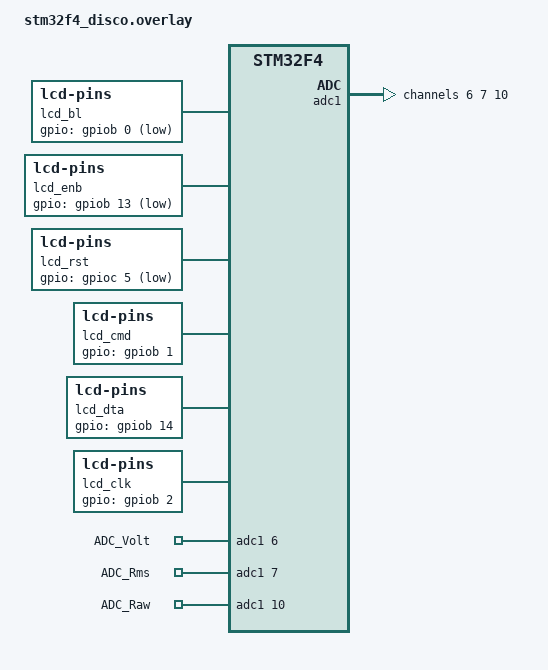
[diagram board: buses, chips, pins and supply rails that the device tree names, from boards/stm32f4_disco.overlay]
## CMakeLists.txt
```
# SPDX-License-Identifier: Apache-2.0

cmake_minimum_required(VERSION 3.20.0)

set(ZEPHYR_EXTRA_MODULES $ENV{ZEPHYR_BASE}../../modules/zpp)
find_package(Zephyr REQUIRED HINTS $ENV{ZEPHYR_BASE})
project(Project)

FILE(GLOB app_sources src/main.cpp)
target_sources(app PRIVATE ${app_sources})

include_directories(inc)
```

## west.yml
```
# Copyright (c) 2021 Nordic Semiconductor ASA
# SPDX-License-Identifier: Apache-2.0

manifest:
  remotes:
    - name: zephyrproject-rtos
      url-base: https://github.com/zephyrproject-rtos
    - name: zpp_remote
      url-base: https://github.com/lowlander  
      
  projects:
    - name: zephyr
      remote: zephyrproject-rtos
      clone-depth: 1
      revision: main
      import:
        name-allowlist:
          - cmsis
          - hal_stm32
    - name: zpp
      remote: zpp_remote
      revision: master
      path: modules/zpp   
```

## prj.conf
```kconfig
CONFIG_ADC=y
CONFIG_ADC_ASYNC=y
CONFIG_GPIO=y
CONFIG_TEST=y
CONFIG_CPLUSPLUS=y
CONFIG_STD_CPP20=y
CONFIG_NEWLIB_LIBC=y
CONFIG_NEWLIB_LIBC_NANO=y
CONFIG_SPEED_OPTIMIZATIONS=y
CONFIG_NEWLIB_LIBC_FLOAT_PRINTF=y
CONFIG_CBPRINTF_FP_SUPPORT=y
CONFIG_LIB_CPLUSPLUS=y
CONFIG_HEAP_MEM_POOL_SIZE=1024
CONFIG_DEBUG_OPTIMIZATIONS=y
CONFIG_DMA=y
#CONFIG_COMPILER_OPT="-Wall -Wextra -Werror -Wno-error=empty-body -Wno-error=unused-parameter -Wno-error=type-limits -Wno-error=missing-field-initializers -Wno-error=sign-compare -Wno-error=ignored-qualifiers -Wno-error=old-style-declaration -Wno-error=cast-function-type"
```

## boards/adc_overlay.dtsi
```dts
&adc1 {
	pinctrl-0 = <&adc_in10_pc0 &adc_in6_pa6 &adc_in7_pa7>;
	pinctrl-names = "default";
	status = "okay";
};
```

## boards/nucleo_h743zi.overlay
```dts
#include "stm32h7_overlay.dtsi"
	
 / {	
	lcd_bl: lcd_bl {			
		compatible = "lcd-pins";
		gpios = <&gpiob 0 GPIO_ACTIVE_LOW>;	
	};
	lcd_enb: lcd_enb {			
		compatible = "lcd-pins";
		gpios = <&gpiob 13 GPIO_ACTIVE_LOW>;
	};
	lcd_rst: lcd_rst {			
		compatible = "lcd-pins";
		gpios = <&gpioc 5 GPIO_ACTIVE_LOW>;
	};		
	lcd_cmd: lcd_cmd {			
		compatible = "lcd-pins";
		gpios = <&gpiob 1 GPIO_ACTIVE_HIGH>;
	};		
	lcd_dta: lcd_dta {			
		compatible = "lcd-pins";
		gpios = <&gpiob 14 GPIO_ACTIVE_HIGH>;
	};		
	lcd_clk: lcd_clk {			
		compatible = "lcd-pins";
		gpios = <&gpiob 2 GPIO_ACTIVE_HIGH>;
	};			
	zephyr,user {
		/* adjust channel number according to pinmux in board.dts */
		io-channels = <&adc1 3>, <&adc1 15>;
		io-channel-names = "ADC_VR", "ADC_VS";
	};		
};

&adc1 {
	dmas = < &dmamux1 0 9 (STM32_DMA_PERIPH_TO_MEMORY |
		STM32_DMA_MEM_INC |  STM32_DMA_MEM_16BITS | STM32_DMA_PERIPH_16BITS) >;
	dma-names = "dmamux";

	#address-cells = <1>;
	#size-cells = <0>;

	channel@3 {
		reg = <3>;
		zephyr,gain = "ADC_GAIN_1";
		zephyr,reference = "ADC_REF_INTERNAL";
		zephyr,acquisition-time = <ADC_ACQ_TIME_DEFAULT>;
		zephyr,resolution = <12>;
	};
	channel@15 {
		reg = <15>;
		zephyr,gain = "ADC_GAIN_1";
		zephyr,reference = "ADC_REF_INTERNAL";
		zephyr,acquisition-time = <ADC_ACQ_TIME_DEFAULT>;
		zephyr,resolution = <12>;
	};
};

/* ADC driver expects a buffer in a non-cachable memory region */
&sram4 {
	zephyr,memory-region-mpu = "RAM_NOCACHE";
};

&dma1 {
	status = "okay";
};

test_dma: &dmamux1 {
	status = "okay";
};
```

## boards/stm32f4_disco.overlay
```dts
#include "stm32f4_overlay.dtsi"

/ {			
	lcd_bl: lcd_bl {			
		compatible = "lcd-pins";
		gpios = <&gpiob 0 GPIO_ACTIVE_LOW>;	
	};
	lcd_enb: lcd_enb {			
		compatible = "lcd-pins";
		gpios = <&gpiob 13 GPIO_ACTIVE_LOW>;
	};
	lcd_rst: lcd_rst {			
		compatible = "lcd-pins";
		gpios = <&gpioc 5 GPIO_ACTIVE_LOW>;
	};		
	lcd_cmd: lcd_cmd {			
		compatible = "lcd-pins";
		gpios = <&gpiob 1 GPIO_ACTIVE_HIGH>;
	};		
	lcd_dta: lcd_dta {			
		compatible = "lcd-pins";
		gpios = <&gpiob 14 GPIO_ACTIVE_HIGH>;
	};		
	lcd_clk: lcd_clk {			
		compatible = "lcd-pins";
		gpios = <&gpiob 2 GPIO_ACTIVE_HIGH>;
	};			
	zephyr,user {
		/* adjust channel number according to pinmux in board.dts */
		io-channels = <&adc1 6>, <&adc1 7>, <&adc1 10>;
		io-channel-names = "ADC_Volt", "ADC_Rms", "ADC_Raw";
	};		
};

&adc1 {
	#address-cells = <1>;
	#size-cells = <0>;

	channel@6 {
		reg = <6>;
		zephyr,gain = "ADC_GAIN_1";
		zephyr,reference = "ADC_REF_INTERNAL";
		zephyr,acquisition-time = <ADC_ACQ_TIME_DEFAULT>;
		zephyr,resolution = <12>;
	};
	channel@7 {
		reg = <7>;
		zephyr,gain = "ADC_GAIN_1";
		zephyr,reference = "ADC_REF_INTERNAL";
		zephyr,acquisition-time = <ADC_ACQ_TIME_DEFAULT>;
		zephyr,resolution = <12>;
	};
	channel@10 {
		reg = <10>;
		zephyr,gain = "ADC_GAIN_1";
		zephyr,reference = "ADC_REF_INTERNAL";
		zephyr,acquisition-time = <ADC_ACQ_TIME_DEFAULT>;
		zephyr,resolution = <12>;
	};	
};

&dma1 {
	status = "okay";
};
```

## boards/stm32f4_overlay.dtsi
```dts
&adc1 {
	pinctrl-0 = <&adc1_in6_pa6 &adc1_in7_pa7 &adc1_in10_pc0>;
	pinctrl-names = "default";
	st,adc-prescaler = <2>;
	status = "okay";
};
```

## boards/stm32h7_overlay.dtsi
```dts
&adc1 {
	pinctrl-0 = <&adc1_inp3_pa6 &adc1_inp15_pa3>;
	pinctrl-names = "default";
	st,adc-prescaler = <2>;
	status = "okay";
};
```

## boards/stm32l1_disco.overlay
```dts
#include "adc_overlay.dtsi"

/ {	
	lcd_bl: lcd_bl {			
		compatible = "lcd-pins";
		gpios = <&gpiob 0 GPIO_ACTIVE_LOW>;	
	};
	lcd_enb: lcd_enb {			
		compatible = "lcd-pins";
		gpios = <&gpiob 13 GPIO_ACTIVE_LOW>;
	};
	lcd_rst: lcd_rst {			
		compatible = "lcd-pins";
		gpios = <&gpioc 5 GPIO_ACTIVE_LOW>;
	};		
	lcd_cmd: lcd_cmd {			
		compatible = "lcd-pins";
		gpios = <&gpiob 1 GPIO_ACTIVE_HIGH>;
	};		
	lcd_dta: lcd_dta {			
		compatible = "lcd-pins";
		gpios = <&gpiob 14 GPIO_ACTIVE_HIGH>;
	};		
	lcd_clk: lcd_clk {			
		compatible = "lcd-pins";
		gpios = <&gpiob 2 GPIO_ACTIVE_HIGH>;
	};			
	zephyr,user {
		/* adjust channel number according to pinmux in board.dts */
		io-channels = <&adc1 10>, <&adc1 6>, <&adc1 7>;
		io-channel-names = "ADC_VR", "ADC_VS", "ADC_VT";
	};		
};

&adc1 {
	#address-cells = <1>;
	#size-cells = <0>;
 
	channel@10 {
		reg = <10>;
		zephyr,gain = "ADC_GAIN_1";
		zephyr,reference = "ADC_REF_INTERNAL";
		zephyr,acquisition-time = <ADC_ACQ_TIME_DEFAULT>;
		zephyr,resolution = <12>;
	};
	channel@6 {
		reg = <6>;
		zephyr,gain = "ADC_GAIN_1";
		zephyr,reference = "ADC_REF_INTERNAL";
		zephyr,acquisition-time = <ADC_ACQ_TIME_DEFAULT>;
		zephyr,resolution = <12>;
	};
	channel@7 {
		reg = <7>;
		zephyr,gain = "ADC_GAIN_1";
		zephyr,reference = "ADC_REF_INTERNAL";
		zephyr,acquisition-time = <ADC_ACQ_TIME_DEFAULT>;
		zephyr,resolution = <12>;
	};
};
```

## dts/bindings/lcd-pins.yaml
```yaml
description: GPIO pin to switch a lcd-pins

compatible: "lcd-pins"

properties:
  gpios:
    type: phandle-array
    required: true
    description: |
      The GPIO connected to the LCD pins
```

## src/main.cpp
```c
/*
    Main.cpp

    Created on: Sep 9, 2023

    Author: Coskun ERGAN
*/

#include <zephyr/devicetree.h>
#include <zephyr/kernel.h>
#include <zephyr/drivers/sensor.h>
#include <zephyr/device.h>

#include <zpp.hpp>
#include <chrono>
#include "printf_io.h"
#include "adc_io.h"

#define STACK_SIZE (1024 + CONFIG_TEST_EXTRA_STACK_SIZE)

using namespace zpp;
using namespace std::chrono;
using namespace device_printf;
using namespace device_adc;

typedef enum
{
    adc_volt = 0,
    adc_rms,
    adc_raw,
} adc_t;

ADC adc;

uint32_t val_rms;
uint32_t rms_sum;
#define RMS_SAMPLE_NUM 256

int main(void)
{
    printf_io.turn_off_bl_enable();

    printf("\rRestart..");

    adc.readAsync(100us, [&](size_t idx, int16_t val)
    {
        switch((adc_t)idx)
        {
            case adc_volt:
                break;
            case adc_rms:
                rms_sum -= rms_sum / RMS_SAMPLE_NUM;
                rms_sum += val * val;                
                break;
            case adc_raw:
                break;
            default:
                break;
        }        
    });

    for(;;)
    {        
        this_thread::sleep_for(500ms);        
        printf("\rVolt = %"PRId32"   \n", adc.get_voltage(adc_volt));
        val_rms = (val_rms == 0) ? 1 : val_rms;
        val_rms = (val_rms + ((rms_sum / RMS_SAMPLE_NUM) / val_rms)) / 2;
        printf("Rms = %"PRId32"   \n",  val_rms);
        printf("Raw = %"PRId32"   \n", adc.get_value(adc_raw));
    }

    return 0;
}
```

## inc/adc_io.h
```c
/*
    ADC Lib

    Created on: Sep 9, 2023

    Author: Coskun ERGAN
*/
#pragma once
#include <stdio.h>
#include <zephyr/drivers/adc.h>
#include <zephyr/devicetree.h>
#include <zephyr/drivers/gpio.h>
#include <zephyr/kernel.h>
#include <cassert>
#include <zephyr/irq.h>
#include <functional>

#include <zpp.hpp>
#include <chrono>
#include <zpp/fmt.hpp>

namespace device_adc
{
    using namespace zpp;
    using namespace std::chrono;
#if defined(ADC)
#undef ADC
#endif

#if !DT_NODE_EXISTS(DT_PATH(zephyr_user)) || \
	!DT_NODE_HAS_PROP(DT_PATH(zephyr_user), io_channels)
#error "No suitable devicetree overlay specified"
#endif

#define DT_SPEC_AND_COMMA(node_id, prop, idx) \
 	ADC_DT_SPEC_GET_BY_IDX(node_id, idx),

    static const struct adc_dt_spec adc_channels[] =
    {
        DT_FOREACH_PROP_ELEM(DT_PATH(zephyr_user), io_channels, DT_SPEC_AND_COMMA)
    };
    class ADC
    {
    private:
        struct adc_sequence_options options;
        struct adc_sequence sequence;
        const size_t channel_count = ARRAY_SIZE(adc_channels);
        size_t channel_index;
        struct IsrContext
        {
            struct k_work work;
            int16_t buffer;
            int16_t sample[ARRAY_SIZE(adc_channels)];
            std::function<void(size_t, int16_t)> done_cb;
            std::function<void(size_t, int16_t)> done_cb_isr;
            enum adc_action state;
            ADC *self;
        } isrContext;

    public:
        ADC()
        {
            int err;
            for(size_t i = 0U; i < channel_count; i++)
            {
                err = adc_channel_setup_dt(&adc_channels[i]);
                if(err < 0)
                {
                    printk("Could not setup channel #%d (%d)\n", i, err);
                    return;
                }
            }
            k_work_init(&isrContext.work, _soft_isr);
        }

        virtual void readAsync(microseconds us, std::function<void(size_t, int16_t)> &&handler = nullptr)
        {
            options =
            {
                .interval_us = (uint32_t)us.count(),
                .callback = _hard_isr,
                .user_data = &isrContext,
            };
            sequence =
            {
                .options = &options,
                .channels = BIT(adc_channels[0].channel_cfg.channel_id),
                .buffer = &isrContext.buffer,
                .buffer_size = sizeof(isrContext.buffer),
                .resolution = adc_channels[0].resolution,
            };
            isrContext.self = this;
            channel_index = 0;
            isrContext.done_cb = std::move(handler);
            isrContext.state = ADC_ACTION_CONTINUE;
            int res = adc_read_async(adc_channels[0].dev, &sequence, nullptr);
            assert(res == 0);
        }

        virtual void readAsyncISR(microseconds us, std::function<void(size_t, int16_t)> &&handler = nullptr)
        {
            options =
            {
                .interval_us = (uint32_t)us.count(),
                .callback = _hard_isr,
                .user_data = &isrContext,
            };
            sequence =
            {
                .options = &options,
                .channels = BIT(adc_channels[0].channel_cfg.channel_id),
                .buffer = &isrContext.buffer,
                .buffer_size = sizeof(isrContext.buffer),
                .resolution = adc_channels[0].resolution,
            };
            isrContext.self = this;
            channel_index = 0;
            isrContext.done_cb = nullptr;
            isrContext.done_cb_isr = std::move(handler);
            isrContext.state = ADC_ACTION_CONTINUE;
            int res = adc_read_async(adc_channels[0].dev, &sequence, nullptr);
            assert(res == 0);
        }

        virtual void cancelRead()
        {
            isrContext.state = ADC_ACTION_FINISH;
        }

        virtual int32_t get_voltage(size_t idx)
        {
            int32_t val_mv;
            if(adc_channels[idx].channel_cfg.differential)
            {
                val_mv = (int32_t)((int16_t)isrContext.sample[idx]);
            }
            else
            {
                val_mv = (int32_t)isrContext.sample[idx];
            }
            adc_raw_to_millivolts_dt(&adc_channels[idx], &val_mv);
            return val_mv;
        }

        virtual int32_t get_value(size_t idx)
        {
            int32_t val;
            if(adc_channels[idx].channel_cfg.differential)
            {
                val = (int32_t)((int16_t)isrContext.sample[idx]);
            }
            else
            {
                val = (int32_t)isrContext.sample[idx];
            }
            return val;
        }

    private:
        static void _soft_isr(struct k_work *work)
        {
            IsrContext *context = CONTAINER_OF(work, IsrContext, work);
            if(context->self->channel_count > 1)
            {
                context->self->sequence.channels = BIT(adc_channels[context->self->channel_index].channel_cfg.channel_id);
                context->self->sequence.resolution = adc_channels[context->self->channel_index].resolution;
                int res = adc_read_async(adc_channels[context->self->channel_index].dev, &context->self->sequence, nullptr);
                assert(res == 0);
            }
            if(context->done_cb)
            {
                if(context->self->channel_index == 0)
                {
                    context->done_cb(context->self->channel_count - 1, context->sample[context->self->channel_count - 1]);
                }
                else
                {
                    context->done_cb(context->self->channel_index - 1, context->sample[context->self->channel_index - 1]);
                }
            }
        }

        static enum adc_action _hard_isr(const struct device *,
                                         const struct adc_sequence *seq,
                                         uint16_t sampling_index __unused)
        {
            IsrContext *context = static_cast<IsrContext *>(seq->options->user_data);
            context->sample[context->self->channel_index] = context->buffer;
            if(context->state != ADC_ACTION_FINISH)
            {
                if(context->self->channel_count == 1)
                {
                    context->state = ADC_ACTION_REPEAT;
                    if(context->done_cb_isr)
                    {
                        context->done_cb_isr(0, context->sample[0]);
                    }
                    else
                    {
                        k_work_submit(&context->work);
                    }
                }
                else if(++context->self->channel_index < context->self->channel_count)
                {
                    context->state = ADC_ACTION_CONTINUE;
                    if(context->done_cb_isr)
                    {
                        context->done_cb_isr(context->self->channel_index - 1, context->sample[context->self->channel_index - 1]);
                    }
                    else
                    {
                        k_work_submit(&context->work);
                    }
                }
                else
                {
                    if(context->state != ADC_ACTION_REPEAT)
                    {
                        context->state = ADC_ACTION_REPEAT;
                        context->self->channel_index--;
                    }
                    else
                    {
                        context->state = ADC_ACTION_CONTINUE;
                        context->self->channel_index = 0;
                        if(context->done_cb_isr)
                        {
                            context->done_cb_isr(context->self->channel_count - 1, context->sample[context->self->channel_count - 1]);
                        }
                        else
                        {
                            k_work_submit(&context->work);
                        }
                    }
                }
            }
            return context->state;
        }
    };
}
```

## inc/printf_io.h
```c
/*
    C Type Printf Implementation

    Created on: July 26, 2023

    Author: Coskun ERGAN
*/

#pragma once
#include <stdio.h>
#include <zephyr/devicetree.h>
#include <zephyr/drivers/gpio.h>
#include <zephyr/kernel.h>

#include <zpp.hpp>
#include <zpp/timer.hpp>
#include <chrono>
#include <zpp/thread.hpp>
#include <zpp/fmt.hpp>

namespace device_printf
{
    using namespace zpp;
    using namespace std::chrono;

    extern "C" void __stdout_hook_install(int (*fn)(int));
    extern "C" int printf_io_write(int c);

    static const struct gpio_dt_spec lcd_bl =
        GPIO_DT_SPEC_GET_OR(DT_NODELABEL(lcd_bl), gpios,
                            {
                                0
                            });
    static const struct gpio_dt_spec lcd_rst =
        GPIO_DT_SPEC_GET_OR(DT_NODELABEL(lcd_rst), gpios,
                            {
                                0
                            });
    static const struct gpio_dt_spec lcd_enb =
        GPIO_DT_SPEC_GET_OR(DT_NODELABEL(lcd_enb), gpios,
                            {
                                0
                            });
    static const struct gpio_dt_spec lcd_cmd =
        GPIO_DT_SPEC_GET_OR(DT_NODELABEL(lcd_cmd), gpios,
                            {
                                0
                            });
    static const struct gpio_dt_spec lcd_dta =
        GPIO_DT_SPEC_GET_OR(DT_NODELABEL(lcd_dta), gpios,
                            {
                                0
                            });
    static const struct gpio_dt_spec lcd_clk =
        GPIO_DT_SPEC_GET_OR(DT_NODELABEL(lcd_clk), gpios,
                            {
                                0
                            });

    const uint8_t init_params[] =
    {
        0xF1, 0x0F, 0xF8, 0x01, 0x06, 0xF0, 0x00, 0x2D, 0xA8, 0xA3, 0x81, 0x8, 0xFF
    };

    const uint8_t char_table[111][6] =
    {
        0x00, 0x00, 0x00, 0x00, 0x00, 0x00, // SPACE
        0x00, 0x00, 0x5F, 0x00, 0x00, 0x00, // !
        0x00, 0x03, 0x00, 0x03, 0x00, 0x00, // "
        0x14, 0x3E, 0x14, 0x3E, 0x14, 0x00, // #
        0x24, 0x2A, 0x7F, 0x2A, 0x12, 0x00, // $
        0x43, 0x33, 0x08, 0x66, 0x61, 0x00, // %
        0x36, 0x49, 0x55, 0x22, 0x50, 0x00, // &
        0x00, 0x05, 0x03, 0x00, 0x00, 0x00, // '
        0x00, 0x1C, 0x22, 0x41, 0x00, 0x00, // (
        0x00, 0x41, 0x22, 0x1C, 0x00, 0x00, // )
        0x14, 0x08, 0x3E, 0x08, 0x14, 0x00, // *
        0x08, 0x08, 0x3E, 0x08, 0x08, 0x00, // +
        0x00, 0x50, 0x30, 0x00, 0x00, 0x00, // ,
        0x08, 0x08, 0x08, 0x08, 0x08, 0x00, // -
        0x00, 0x60, 0x60, 0x00, 0x00, 0x00, // .
        0x20, 0x10, 0x08, 0x04, 0x02, 0x00, // /
        0x3E, 0x51, 0x49, 0x45, 0x3E, 0x00, // 0
        0x04, 0x02, 0x7F, 0x00, 0x00, 0x00, // 1
        0x42, 0x61, 0x51, 0x49, 0x46, 0x00, // 2
        0x22, 0x41, 0x49, 0x49, 0x36, 0x00, // 3
        0x18, 0x14, 0x12, 0x7F, 0x10, 0x00, // 4
        0x27, 0x45, 0x45, 0x45, 0x39, 0x00, // 5
        0x3E, 0x49, 0x49, 0x49, 0x32, 0x00, // 6
        0x01, 0x01, 0x71, 0x09, 0x07, 0x00, // 7
        0x36, 0x49, 0x49, 0x49, 0x36, 0x00, // 8
        0x26, 0x49, 0x49, 0x49, 0x3E, 0x00, // 9
        0x00, 0x36, 0x36, 0x00, 0x00, 0x00, // :
        0x00, 0x56, 0x36, 0x00, 0x00, 0x00, // ;
        0x08, 0x14, 0x22, 0x41, 0x00, 0x00, // <
        0x14, 0x14, 0x14, 0x14, 0x14, 0x00, // =
        0x00, 0x41, 0x22, 0x14, 0x08, 0x00, // >
        0x02, 0x01, 0x51, 0x09, 0x06, 0x00, // ?
        0x00, 0x06, 0x09, 0x09, 0x06, 0x00, // @
        0x7E, 0x09, 0x09, 0x09, 0x7E, 0x00, // A
        0x7F, 0x49, 0x49, 0x49, 0x36, 0x00, // B
        0x3E, 0x41, 0x41, 0x41, 0x22, 0x00, // C
        0x7F, 0x41, 0x41, 0x41, 0x3E, 0x00, // D
        0x7F, 0x49, 0x49, 0x49, 0x41, 0x00, // E
        0x7F, 0x09, 0x09, 0x09, 0x01, 0x00, // F
        0x3E, 0x41, 0x41, 0x49, 0x3A, 0x00, // G
        0x7F, 0x08, 0x08, 0x08, 0x7F, 0x00, // H
        0x00, 0x41, 0x7F, 0x41, 0x00, 0x00, // I
        0x30, 0x40, 0x40, 0x40, 0x3F, 0x00, // J
        0x7F, 0x08, 0x14, 0x22, 0x41, 0x00, // K
        0x7F, 0x40, 0x40, 0x40, 0x40, 0x00, // L
        0x7F, 0x02, 0x0C, 0x02, 0x7F, 0x00, // M
        0x7F, 0x02, 0x04, 0x08, 0x7F, 0x00, // N
        0x3E, 0x41, 0x41, 0x41, 0x3E, 0x00, // O
        0x7F, 0x09, 0x09, 0x09, 0x06, 0x00, // P
        0x1E, 0x21, 0x21, 0x21, 0x5E, 0x00, // Q
        0x7F, 0x09, 0x09, 0x09, 0x76, 0x00, // R
        0x26, 0x49, 0x49, 0x49, 0x32, 0x00, // S
        0x01, 0x01, 0x7F, 0x01, 0x01, 0x00, // T
        0x3F, 0x40, 0x40, 0x40, 0x3F, 0x00, // U
        0x1F, 0x20, 0x40, 0x20, 0x1F, 0x00, // V
        0x7F, 0x20, 0x10, 0x20, 0x7F, 0x00, // W
        0x63, 0x14, 0x08, 0x14, 0x63, 0x00, // X
        0x07, 0x08, 0x70, 0x08, 0x07, 0x00, // Y
        0x61, 0x51, 0x49, 0x45, 0x43, 0x00, // Z
        0x00, 0x7F, 0x41, 0x00, 0x00, 0x00, // [
        0x02, 0x04, 0x08, 0x10, 0x20, 0x00, //
        0x00, 0x00, 0x41, 0x7F, 0x00, 0x00, // ]
        0x00, 0x06, 0x09, 0x09, 0x06, 0x00, // ^ -> degree
        0x40, 0x40, 0x40, 0x40, 0x40, 0x00, // _
        0x00, 0x01, 0x02, 0x04, 0x00, 0x00, // `
        0x20, 0x54, 0x54, 0x54, 0x78, 0x00, // a
        0x7F, 0x44, 0x44, 0x44, 0x38, 0x00, // b
        0x38, 0x44, 0x44, 0x44, 0x44, 0x00, // c
        0x38, 0x44, 0x44, 0x44, 0x7F, 0x00, // d
        0x38, 0x54, 0x54, 0x54, 0x18, 0x00, // e
        0x04, 0x04, 0x7E, 0x05, 0x05, 0x00, // f
        0x08, 0x54, 0x54, 0x54, 0x3C, 0x00, // g
        0x7F, 0x08, 0x04, 0x04, 0x78, 0x00, // h
        0x00, 0x44, 0x7D, 0x40, 0x00, 0x00, // i
        0x20, 0x40, 0x44, 0x3D, 0x00, 0x00, // j
        0x7F, 0x10, 0x28, 0x44, 0x00, 0x00, // k
        0x00, 0x41, 0x7F, 0x40, 0x00, 0x00, // l
        0x7C, 0x04, 0x78, 0x04, 0x78, 0x00, // m
        0x7C, 0x08, 0x04, 0x04, 0x78, 0x00, // n
        0x38, 0x44, 0x44, 0x44, 0x38, 0x00, // o
        0x7C, 0x14, 0x14, 0x14, 0x08, 0x00, // p
        0x08, 0x14, 0x14, 0x14, 0x7C, 0x00, // q
        0x00, 0x7C, 0x08, 0x04, 0x04, 0x00, // r
        0x48, 0x54, 0x54, 0x54, 0x20, 0x00, // s
        0x04, 0x04, 0x3F, 0x44, 0x44, 0x00, // t
        0x3C, 0x40, 0x40, 0x20, 0x7C, 0x00, // u
        0x1C, 0x20, 0x40, 0x20, 0x1C, 0x00, // v
        0x3C, 0x40, 0x30, 0x40, 0x3C, 0x00, // w
        0x44, 0x28, 0x10, 0x28, 0x44, 0x00, // x
        0x0C, 0x50, 0x50, 0x50, 0x3C, 0x00, // y
        0x44, 0x64, 0x54, 0x4C, 0x44, 0x00, // z
        0x00, 0x08, 0x36, 0x41, 0x41, 0x00, // {
        0x00, 0x00, 0x7F, 0x00, 0x00, 0x00, // |
        0x41, 0x41, 0x36, 0x08, 0x00, 0x00, // }
        0x02, 0x01, 0x02, 0x04, 0x02, 0x00, // ~
        0x30, 0x48, 0xC8, 0x48, 0x00, 0x00, //ç
        0x10, 0xAA, 0xAA, 0xA8, 0x70, 0x00, //ğ
        0x00, 0x00, 0x7C, 0x00, 0x00, 0x00, //ı
        0x38, 0x45, 0x44, 0x45, 0x38, 0x00, //ö
        0x58, 0x54, 0xD4, 0x54, 0x30, 0x00, //ş
        0x38, 0x41, 0x40, 0x41, 0x38, 0x00, //ü
        0x3E, 0x41, 0xC1, 0x41, 0x22, 0x00, //Ç
        0x3C, 0x43, 0x53, 0x53, 0x34, 0x00, //Ğ
        0x00, 0x00, 0x7D, 0x00, 0x00, 0x00, //İ
        0x3C, 0x43, 0x42, 0x43, 0x3C, 0x00, //Ö
        0x26, 0x49, 0xC9, 0x49, 0x32, 0x00, //Ş
        0x3C, 0x41, 0x40, 0x41, 0x3C, 0x00, //Ü
        0x00, 0x00, 0x11, 0x15, 0x0A, 0x00, //3
        0x10, 0x38, 0x7C, 0xFE, 0x38, 0x38, //<
        0x38, 0x38, 0xFE, 0x7C, 0x38, 0x10  //>
    };

    void timer_callback(timer_base *t) noexcept
    {
        gpio_pin_set_dt(&lcd_bl, false);
    }

    auto g_t = make_timer(timer_callback);

    class printf_io
    {
    public:
        printf_io()
        {
            __stdout_hook_install(printf_io_write);
            setvbuf(stdout, NULL, _IONBF, 0);
            gpio_pin_configure_dt(&lcd_rst, GPIO_OUTPUT_INACTIVE);
            gpio_pin_configure_dt(&lcd_bl, GPIO_OUTPUT_INACTIVE);
            gpio_pin_configure_dt(&lcd_enb, GPIO_OUTPUT_INACTIVE);
            gpio_pin_configure_dt(&lcd_cmd, GPIO_OUTPUT_INACTIVE);
            gpio_pin_configure_dt(&lcd_dta, GPIO_OUTPUT_INACTIVE);
            gpio_pin_configure_dt(&lcd_clk, GPIO_OUTPUT_INACTIVE);
            volatile uint8_t i = 0;
            gpio_pin_set_dt(&lcd_rst, true);
            while(--i);
            gpio_pin_set_dt(&lcd_enb, true);
            gpio_pin_set_dt(&lcd_rst, false);
            while(--i);
            gpio_pin_set_dt(&lcd_cmd, false);
            i = 0;
            do
            {
                io_send(init_params[i++]);
            }
            while(i <= sizeof(init_params));
            io_send(0xAF);
            io_send(0xB0);
            for(uint8_t i = 0; i < 16; i++)
            {
                gpio_pin_set_dt(&lcd_cmd, false);
                io_send(i);
                io_send(0x10);
                gpio_pin_set_dt(&lcd_cmd, true);
                io_send(0x00);
            }
            gpio_pin_set_dt(&lcd_cmd, false);
            io_send(0xB8);
            for(i = 0; i < 96; i++)
            {
                gpio_pin_set_dt(&lcd_cmd, false);
                io_send(i & 0xF);
                io_send((i >> 4) | 0x10);
                gpio_pin_set_dt(&lcd_cmd, true);
                io_send(0x00);
            }
            gpio_pin_set_dt(&lcd_cmd, false);
            io_send(0xB0);
            io_send(0x00);
            io_send(0x11);
            gpio_pin_set_dt(&lcd_cmd, true);
            ch_count = 0;
        }
        ~printf_io() = default;
        printf_io(printf_io &&) = delete;
        printf_io &operator=(printf_io &&) = delete;
        printf_io(const printf_io &) = delete;
        printf_io &operator=(const printf_io &) = delete;

        int io_putchar(int ch)
        {
            if((ch == '\r') || (ch_count > 25))
            {
                if(ch == '\r')
                {
                    ch_count = 0;
                }
                gpio_pin_set_dt(&lcd_cmd, false);
                io_send(0xB0);
                io_send(0x00);
                io_send(0x11);
                gpio_pin_set_dt(&lcd_cmd, true);

            }
            else if(ch == '\n')
            {
                if(ch_count < 14)
                {
                    ch_count = 14;
                    gpio_pin_set_dt(&lcd_cmd, false);
                    io_send(0xB1);
                    io_send(0x00);
                    io_send(0x11);
                    gpio_pin_set_dt(&lcd_cmd, true);
                }
            }
            else
            {
                if(++ch_count == 14)
                {
                    io_send(0);
                    io_send(0);
                    gpio_pin_set_dt(&lcd_cmd, false);
                    io_send(0xB1);
                    io_send(0x00);
                    io_send(0x11);
                    gpio_pin_set_dt(&lcd_cmd, true);
                }
                uint8_t temp = ch - 0x20;
                for(uint8_t i = 0; i < 6; i++)
                {
                    io_send(char_table[temp][i]);
                }
            }
            return ch;
        }

        void turn_off_bl_enable(milliseconds ms = 3000ms)
        {
            gpio_pin_set_dt(&lcd_bl, true);
            g_t.start(ms);
        }

    private:
        uint8_t ch_count;
        
        void io_send(uint8_t byte)
        {
            for(uint8_t i = 0; i < 8; i++)
            {
                gpio_pin_set_dt(&lcd_clk, false);
                if((byte & 0x80) == 0x80)
                {
                    gpio_pin_set_dt(&lcd_dta, true);
                }
                else
                {
                    gpio_pin_set_dt(&lcd_dta, false);
                }
                byte <<= 1;
                gpio_pin_set_dt(&lcd_clk, true);
            }
        }
    };

    printf_io printf_io;
    mutex m;

    extern "C" int printf_io_write(int c)
    {
        lock_guard g(m);
        printf_io.io_putchar(c);
        return c;
    }
}
```
